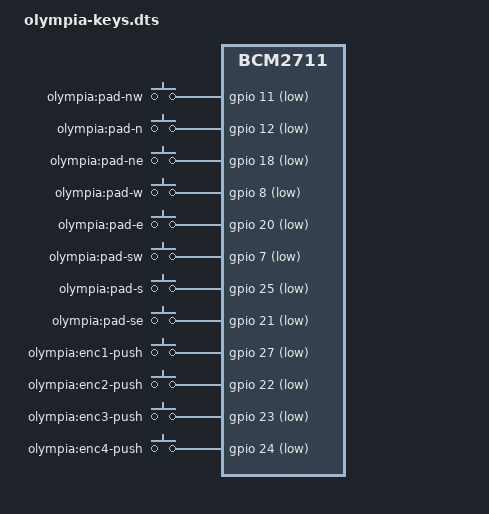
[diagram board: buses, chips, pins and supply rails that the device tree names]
/dts-v1/;
/plugin/;

/ {
	compatible = "brcm,bcm2711";

	fragment@0 {
		target-path = "/";
		__overlay__ {
			olympia_keys: olympia-keys {
				compatible = "gpio-keys";
				pinctrl-names = "default";
				pinctrl-0 = <&olympia_keys_pins>;
				status = "okay";

				key-nw {
					label = "olympia:pad-nw";
					linux,code = <71>;
					gpios = <&gpio 11 1>;
					debounce-interval = <20>;
					autorepeat;
				};
				key-n {
					label = "olympia:pad-n";
					linux,code = <72>;
					gpios = <&gpio 12 1>;
					debounce-interval = <20>;
					autorepeat;
				};
				key-ne {
					label = "olympia:pad-ne";
					linux,code = <73>;
					gpios = <&gpio 18 1>;
					debounce-interval = <20>;
					autorepeat;
				};
				key-w {
					label = "olympia:pad-w";
					linux,code = <75>;
					gpios = <&gpio 8 1>;
					debounce-interval = <20>;
					autorepeat;
				};
				key-e {
					label = "olympia:pad-e";
					linux,code = <77>;
					gpios = <&gpio 20 1>;
					debounce-interval = <20>;
					autorepeat;
				};
				key-sw {
					label = "olympia:pad-sw";
					linux,code = <79>;
					gpios = <&gpio 7 1>;
					debounce-interval = <20>;
					autorepeat;
				};
				key-s {
					label = "olympia:pad-s";
					linux,code = <80>;
					gpios = <&gpio 25 1>;
					debounce-interval = <20>;
					autorepeat;
				};
				key-se {
					label = "olympia:pad-se";
					linux,code = <81>;
					gpios = <&gpio 21 1>;
					debounce-interval = <20>;
					autorepeat;
				};

				key-enc1 {
					label = "olympia:enc1-push";
					linux,code = <183>;
					gpios = <&gpio 27 1>;
					debounce-interval = <20>;
				};
				key-enc2 {
					label = "olympia:enc2-push";
					linux,code = <184>;
					gpios = <&gpio 22 1>;
					debounce-interval = <20>;
				};
				key-enc3 {
					label = "olympia:enc3-push";
					linux,code = <185>;
					gpios = <&gpio 23 1>;
					debounce-interval = <20>;
				};
				key-enc4 {
					label = "olympia:enc4-push";
					linux,code = <186>;
					gpios = <&gpio 24 1>;
					debounce-interval = <20>;
				};
			};
		};
	};

	fragment@1 {
		target = <&gpio>;
		__overlay__ {
			olympia_keys_pins: olympia_keys_pins {
				brcm,pins = <11 12 18 8 20 7 25 21 27 22 23 24>;
				brcm,function = <0>;
				brcm,pull = <2>;
			};
		};
	};
};
